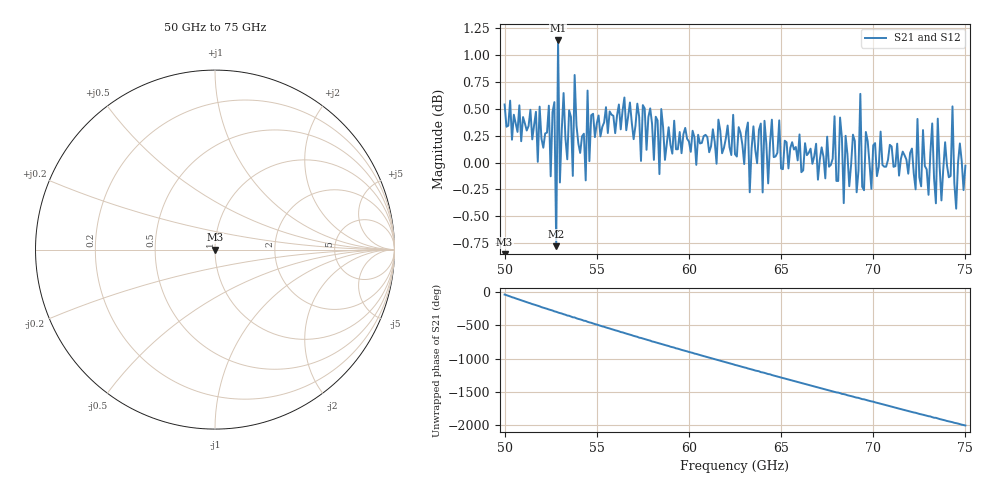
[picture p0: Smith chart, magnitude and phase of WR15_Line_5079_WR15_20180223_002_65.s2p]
# GHZ S RI R 50
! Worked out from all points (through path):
!   251 points, 50 GHz to 75 GHz, reference 50 ohm
!   highest |S21| = 1.14 dB at 52.9 GHz (marker M1); lowest = -0.8 dB at 52.8 GHz (marker M2)
!   lowest |S11| = - dB at 50 GHz (marker M3), VSWR 1.00, Z = 50 + j2.47e-15 ohm
!   |S11| at or under -10 dB: start of sweep to end of sweep
!   |S22| runs from - to - dB; largest |S21 - S12| = 1e-14
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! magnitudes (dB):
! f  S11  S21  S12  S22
! 50 GHz  -  0.5  0.5  -
! 52.4 GHz  -  0.5  0.5  -
! 52.5 GHz  -  -0.1  -0.1  -
! 52.7 GHz  -  0.6  0.6  -
! 52.8 GHz  -  -0.8  -0.8  -
! 52.9 GHz  -  1.1  1.1  -
! 53 GHz  -  -0.2  -0.2  -
! 53.2 GHz  -  0.6  0.6  -
! 53.7 GHz  -  -0.1  -0.1  -
! 53.8 GHz  -  0.8  0.8  -
! 54.2 GHz  -  0.2  0.2  -
! 57.9 GHz  -  0.5  0.5  -
! 58.4 GHz  -  -0.1  -0.1  -
! 58.5 GHz  -  0.5  0.5  -
! 62.5 GHz  -  0.1  0.1  -
! 66.7 GHz  -  0.0  0.0  -
! 68.2 GHz  -  0.4  0.4  -
! 69.1 GHz  -  -0.3  -0.3  -
! 69.3 GHz  -  0.6  0.6  -
! 69.5 GHz  -  -0.3  -0.3  -
! 70.9 GHz  -  0.2  0.2  -
! 75 GHz  -  0.0  0.0  -
